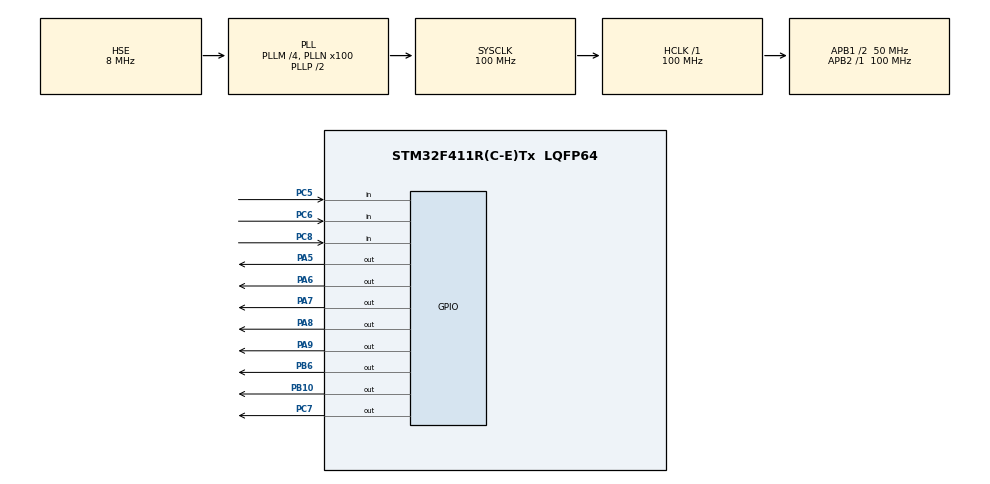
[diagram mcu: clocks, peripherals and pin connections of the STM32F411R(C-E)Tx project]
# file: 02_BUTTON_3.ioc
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Mcu.Family=STM32F4
Mcu.Name=STM32F411R(C-E)Tx
Mcu.Package=LQFP64
NVIC.PriorityGroup=NVIC_PRIORITYGROUP_4
PA13.Mode=Serial_Wire
PA13.Signal=SYS_JTMS-SWDIO
PA14.Mode=Serial_Wire
PA14.Signal=SYS_JTCK-SWCLK
PA5.Signal=GPIO_Output
PA6.Signal=GPIO_Output
PA7.Signal=GPIO_Output
PA8.Signal=GPIO_Output
PA9.Signal=GPIO_Output
PB10.Signal=GPIO_Output
PB6.Signal=GPIO_Output
PC5.GPIO_PuPd=GPIO_PULLUP
PC5.Signal=GPIO_Input
PC6.GPIO_PuPd=GPIO_PULLUP
PC6.Signal=GPIO_Input
PC7.Signal=GPIO_Output
PC8.GPIO_PuPd=GPIO_PULLUP
PC8.Signal=GPIO_Input
PH0\ -\ OSC_IN.Mode=HSE-External-Oscillator
PH0\ -\ OSC_IN.Signal=RCC_OSC_IN
PH1\ -\ OSC_OUT.Mode=HSE-External-Oscillator
PH1\ -\ OSC_OUT.Signal=RCC_OSC_OUT
ProjectManager.HeapSize=0x200
ProjectManager.StackSize=0x400
ProjectManager.TargetToolchain=STM32CubeIDE
RCC.48MHZClocksFreq_Value=50000000
RCC.AHBFreq_Value=100000000
RCC.APB1CLKDivider=RCC_HCLK_DIV2
RCC.APB1Freq_Value=50000000
RCC.APB1TimFreq_Value=100000000
RCC.APB2Freq_Value=100000000
RCC.APB2TimFreq_Value=100000000
RCC.CortexFreq_Value=100000000
RCC.HCLKFreq_Value=100000000
RCC.HSE_VALUE=8000000
RCC.HSI_VALUE=16000000
RCC.LSE_VALUE=32768
RCC.PLLM=4
RCC.PLLN=100
RCC.PLLSourceVirtual=RCC_PLLSOURCE_HSE
RCC.SYSCLKFreq_VALUE=100000000
RCC.SYSCLKSource=RCC_SYSCLKSOURCE_PLLCLK
RCC.VCOOutputFreq_Value=200000000
board=custom

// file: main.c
/* USER CODE BEGIN Header */
/**
  ******************************************************************************
  * @file           : main.c
  * @brief          : Main program body
  ******************************************************************************
  * @attention
  *
  * Copyright (c) 2025 STMicroelectronics.
  * All rights reserved.
  *
  * This software is licensed under terms that can be found in the LICENSE file
  * in the root directory of this software component.
  * If no LICENSE file comes with this software, it is provided AS-IS.
  *
  ******************************************************************************
  */
/* USER CODE END Header */
#include "main.h"
#include "gpio.h"

/* USER CODE BEGIN Includes */
#include "led.h"
#include "button.h"

/* USER CODE END Includes */

void SystemClock_Config(void);

int main(void)
{

  /* MCU Configuration--------------------------------------------------------*/

  /* Reset of all peripherals, Initializes the Flash interface and the Systick. */
  HAL_Init();

  /* Configure the system clock */
  SystemClock_Config();

  /* Initialize all configured peripherals */
  MX_GPIO_Init();
  /* USER CODE BEGIN 2 */

  uint32_t lastDebounceTime = 0;	// 마지막 디반운스 확인 시간
  GPIO_PinState lastButtonstate = GPIO_PIN_SET;  // 마지막 버튼 상태 (풀업이다)
  uint8_t currLed=0;

  /* USER CODE END 2 */

  /* Infinite loop */
  /* USER CODE BEGIN WHILE */
  while (1)
  {

	  if(buttonGetPressed(0))
	  {
		  // LED 켜
		  ledOn(8);

	  }

	  if(buttonGetPressed(1))
	  {
		  // LED 꺼
		  ledOff(8);

	  }

	  if(buttonGetPressed(2))
	  {
		  // LED 좌로 켜

		  if(currLed > 0)
		  {
			 ledOneOff(currLed-1);
		  }

		  if(currLed == 8)
		  {
			  currLed = 0;
		  }

		  ledOneOn(currLed);
		  currLed++;
		  HAL_Delay(300);
	  }

	  //	  data = HAL_GPIO_ReadPin(GPIOC, GPIO_PIN_13);

	  /*
	  if(data)		//0이 되는 코드
	  {
		  HAL_GPIO_WritePin(GPIOA, GPIO_PIN_5, 0);

	  }
	  else
	  {
		  HAL_GPIO_WritePin(GPIOA, GPIO_PIN_5, 1);

	  }
	   	 */

    /* USER CODE END WHILE */

  }
}

void SystemClock_Config(void)
{
  RCC_OscInitTypeDef RCC_OscInitStruct = {0};
  RCC_ClkInitTypeDef RCC_ClkInitStruct = {0};

  /** Configure the main internal regulator output voltage
  */
  __HAL_RCC_PWR_CLK_ENABLE();
  __HAL_PWR_VOLTAGESCALING_CONFIG(PWR_REGULATOR_VOLTAGE_SCALE1);

  /** Initializes the RCC Oscillators according to the specified parameters
  * in the RCC_OscInitTypeDef structure.
  */
  RCC_OscInitStruct.OscillatorType = RCC_OSCILLATORTYPE_HSE;
  RCC_OscInitStruct.HSEState = RCC_HSE_ON;
  RCC_OscInitStruct.PLL.PLLState = RCC_PLL_ON;
  RCC_OscInitStruct.PLL.PLLSource = RCC_PLLSOURCE_HSE;
  RCC_OscInitStruct.PLL.PLLM = 4;
  RCC_OscInitStruct.PLL.PLLN = 100;
  RCC_OscInitStruct.PLL.PLLP = RCC_PLLP_DIV2;
  RCC_OscInitStruct.PLL.PLLQ = 4;
  if (HAL_RCC_OscConfig(&RCC_OscInitStruct) != HAL_OK)
  {
    Error_Handler();
  }

  /** Initializes the CPU, AHB and APB buses clocks
  */
  RCC_ClkInitStruct.ClockType = RCC_CLOCKTYPE_HCLK|RCC_CLOCKTYPE_SYSCLK
                              |RCC_CLOCKTYPE_PCLK1|RCC_CLOCKTYPE_PCLK2;
  RCC_ClkInitStruct.SYSCLKSource = RCC_SYSCLKSOURCE_PLLCLK;
  RCC_ClkInitStruct.AHBCLKDivider = RCC_SYSCLK_DIV1;
  RCC_ClkInitStruct.APB1CLKDivider = RCC_HCLK_DIV2;
  RCC_ClkInitStruct.APB2CLKDivider = RCC_HCLK_DIV1;

  if (HAL_RCC_ClockConfig(&RCC_ClkInitStruct, FLASH_LATENCY_3) != HAL_OK)
  {
    Error_Handler();
  }
}

void Error_Handler(void)
{
  __disable_irq();
  while (1)
  {
  }
}
